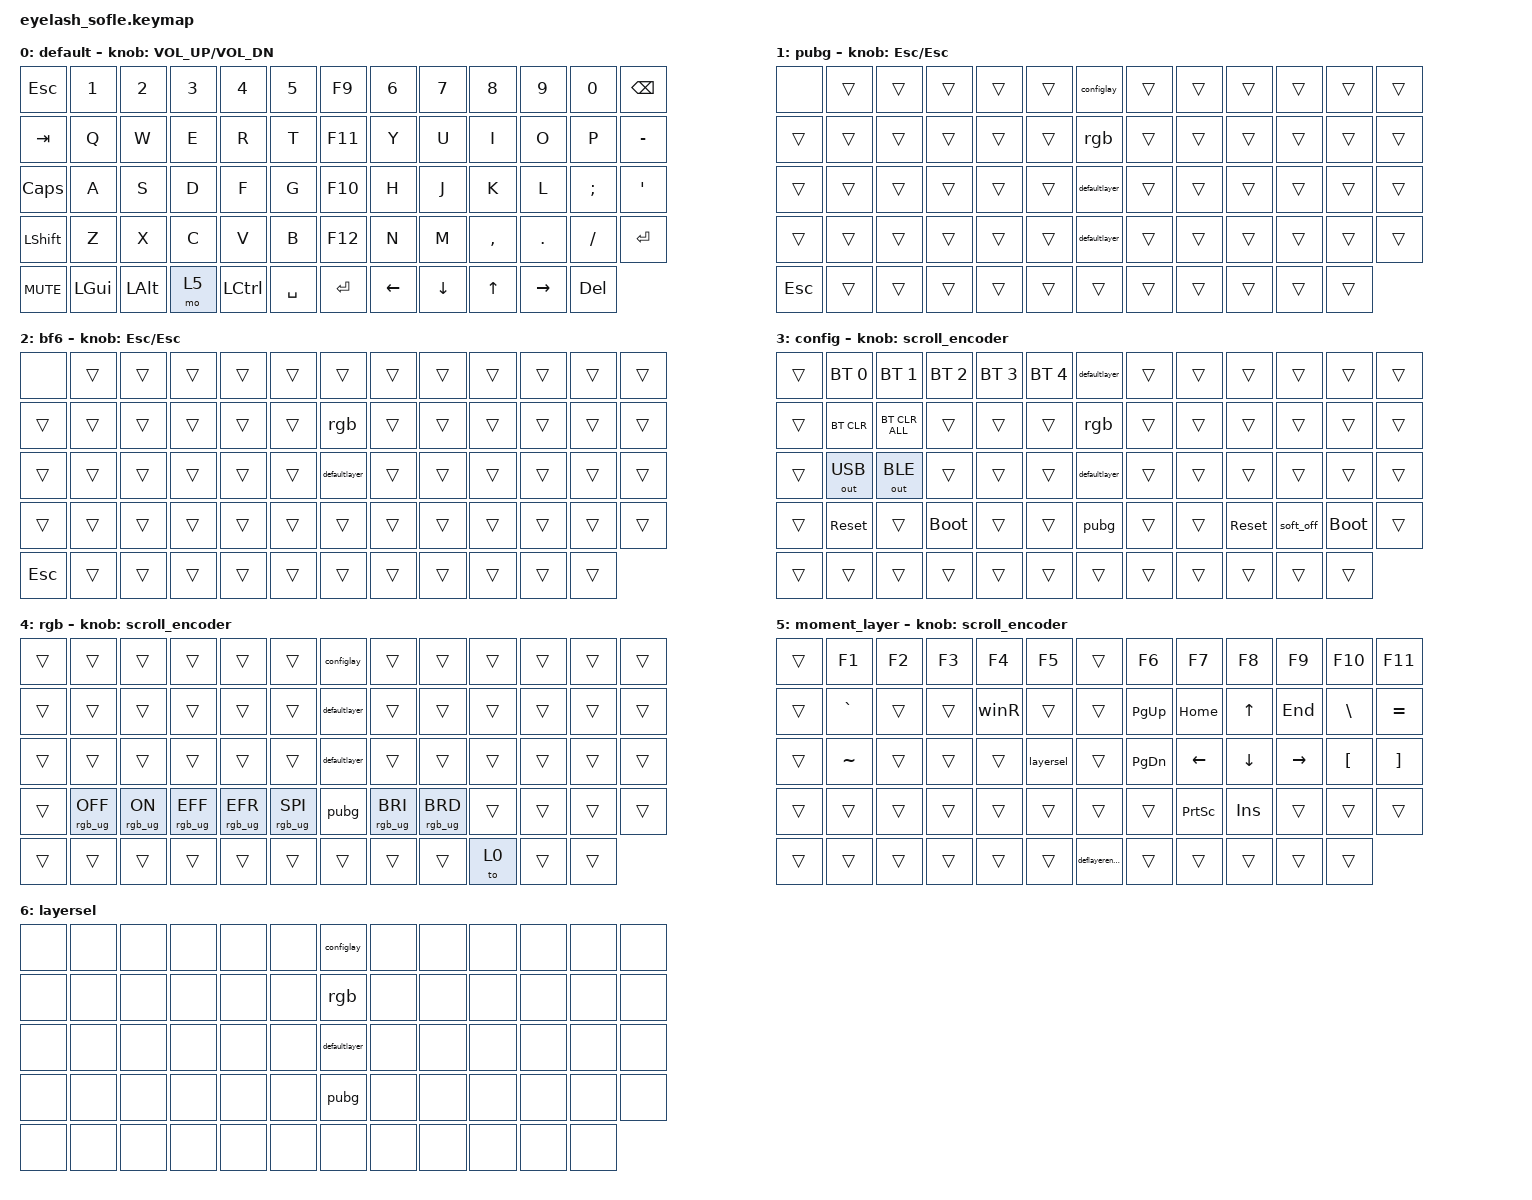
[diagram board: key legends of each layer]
#define ZMK_POINTING_DEFAULT_MOVE_VAL 1200  // 600
#define ZMK_POINTING_DEFAULT_SCRL_VAL 25   // 10

#include <input/processors.dtsi>
#include <zephyr/dt-bindings/input/input-event-codes.h>
#include <behaviors.dtsi>
#include <dt-bindings/zmk/bt.h>
#include <dt-bindings/zmk/keys.h>
#include <dt-bindings/zmk/outputs.h>
#include <dt-bindings/zmk/pointing.h>
#include <dt-bindings/zmk/rgb.h>

&mmv_input_listener { input-processors = <&zip_xy_scaler 2 1>; };

&msc_input_listener { input-processors = <&zip_scroll_scaler 2 1>; };

&msc {
    acceleration-exponent = <1>;      // 0
    time-to-max-speed-ms = <100>;       // 300
    delay-ms = <0>;                   // 0
};

&mmv {
    time-to-max-speed-ms = <500>;
    acceleration-exponent = <1>;
    trigger-period-ms = <16>;
};

&soft_off { hold-time-ms = <2000>; };

/ {
    scroll_encoder: scroll_encoder {
        compatible = "zmk,behavior-sensor-rotate";
        #sensor-binding-cells = <0>;
        bindings = <&msc SCRL_DOWN>, <&msc SCRL_UP>;

        tap-ms = <100>;
    };

    behaviors {
    };

    combos {
        compatible = "zmk,combos";

        softoff {
            bindings = <&soft_off>;
            key-positions = <14 28 40>;
        };
    };

    macros {
        momentlayer: momentlayer {
            compatible = "zmk,behavior-macro";
            #binding-cells = <0>;
            bindings =
                <&macro_press>,
                <&mo 5>,
                <&macro_tap>,
                <&rgb_ug RGB_COLOR_HSB(112,93,49)>,
                <&macro_pause_for_release>,
                <&macro_release>,
                <&mo 5>,
                <&macro_tap>,
                <&rgb_ug RGB_COLOR_HSB(216,100,52)>;

            label = "MOMENTLAYER";
        };

        pubg: pubg {
            compatible = "zmk,behavior-macro";
            #binding-cells = <0>;
            bindings = <&macro_tap>, <&to 1 &rgb_ug RGB_COLOR_HSB(283,93,49)>;

            label = "PUBG";
        };

        rgb: rgb {
            compatible = "zmk,behavior-macro";
            #binding-cells = <0>;
            bindings = <&macro_tap>, <&to 4 &rgb_ug RGB_COLOR_HSB(59,93,49)>;

            label = "RGB";
        };

        defaultlayer: defaultlayer {
            compatible = "zmk,behavior-macro";
            #binding-cells = <0>;
            bindings = <&macro_tap>, <&to 0 &rgb_ug RGB_COLOR_HSB(212,93,49)>;

            label = "DEFAULTLAYER";
        };

        layersel: layersel {
            compatible = "zmk,behavior-macro";
            #binding-cells = <0>;
            bindings = <&macro_tap>, <&to 6 &rgb_ug RGB_COLOR_HSB(360,0,100)>;

            label = "LAYERSEL";
        };

        winR: winR {
            compatible = "zmk,behavior-macro";
            #binding-cells = <0>;
            bindings =
                <&macro_press>,
                <&kp LEFT_GUI>,
                <&macro_tap>,
                <&kp R>,
                <&macro_release>,
                <&kp LEFT_GUI>;

            label = "WINR";
        };

        configlay: configlay {
            compatible = "zmk,behavior-macro";
            #binding-cells = <0>;
            bindings = <&macro_tap>, <&to 3 &rgb_ug RGB_COLOR_HSB(360,93,49)>;

            label = "CONFIGLAY";
        };

        deflayerenablergb: deflayerenablergb {
            compatible = "zmk,behavior-macro";
            #binding-cells = <0>;
            bindings =
                <&macro_tap>,
                <&rgb_ug RGB_ON &rgb_ug RGB_BRI &to 0 &rgb_ug RGB_COLOR_HSB(212,93,49)>;

            label = "DEFLAYERENABLERGB";
        };
    };

    keymap {
        compatible = "zmk,keymap";

        default {
            bindings = <
&kp ESC     &kp N1        &kp N2        &kp N3  &kp N4            &kp N5       &kp F9     &kp N6          &kp N7          &kp N8        &kp N9           &kp N0      &kp BACKSPACE
&kp TAB     &kp Q         &kp W         &kp E   &kp R             &kp T        &kp F11    &kp Y           &kp U           &kp I         &kp O            &kp P       &kp MINUS
&kp CAPS    &kp A         &kp S         &kp D   &kp F             &kp G        &kp F10    &kp H           &kp J           &kp K         &kp L            &kp SEMI    &kp APOS
&kp LSHFT   &kp Z         &kp X         &kp C   &kp V             &kp B        &kp F12    &kp N           &kp M           &kp COMMA     &kp DOT          &kp FSLH    &kp ENTER
&kp C_MUTE  &kp LEFT_GUI  &kp LEFT_ALT  &mo 5   &kp LEFT_CONTROL  &kp SPACE    &kp ENTER  &kp LEFT_ARROW  &kp DOWN_ARROW  &kp UP_ARROW  &kp RIGHT_ARROW  &kp DELETE
            >;

            sensor-bindings = <&inc_dec_kp C_VOLUME_UP C_VOL_DN>;
            display-name = "default";
        };

        pubg {
            bindings = <
&none    &trans  &trans  &trans  &trans  &trans    &configlay     &trans  &trans  &trans  &trans  &trans  &trans
&trans   &trans  &trans  &trans  &trans  &trans    &rgb           &trans  &trans  &trans  &trans  &trans  &trans
&trans   &trans  &trans  &trans  &trans  &trans    &defaultlayer  &trans  &trans  &trans  &trans  &trans  &trans
&trans   &trans  &trans  &trans  &trans  &trans    &defaultlayer  &trans  &trans  &trans  &trans  &trans  &trans
&kp ESC  &trans  &trans  &trans  &trans  &trans    &trans         &trans  &trans  &trans  &trans  &trans
            >;

            display-name = "pubg";
            sensor-bindings = <&inc_dec_kp ESCAPE ESCAPE>;
        };

        bf6 {
            bindings = <
&none       &trans  &trans  &trans  &trans  &trans    &trans         &trans  &trans  &trans  &trans  &trans  &trans
&trans      &trans  &trans  &trans  &trans  &trans    &rgb           &trans  &trans  &trans  &trans  &trans  &trans
&trans      &trans  &trans  &trans  &trans  &trans    &defaultlayer  &trans  &trans  &trans  &trans  &trans  &trans
&trans      &trans  &trans  &trans  &trans  &trans    &trans         &trans  &trans  &trans  &trans  &trans  &trans
&kp ESCAPE  &trans  &trans  &trans  &trans  &trans    &trans         &trans  &trans  &trans  &trans  &trans
            >;

            display-name = "bf6";
            sensor-bindings = <&inc_dec_kp ESCAPE ESCAPE>;
        };

        config {
            bindings = <
&trans  &bt BT_SEL 0  &bt BT_SEL 1    &bt BT_SEL 2  &bt BT_SEL 3  &bt BT_SEL 4    &defaultlayer  &trans  &trans  &trans      &trans     &trans       &trans
&trans  &bt BT_CLR    &bt BT_CLR_ALL  &trans        &trans        &trans          &rgb           &trans  &trans  &trans      &trans     &trans       &trans
&trans  &out OUT_USB  &out OUT_BLE    &trans        &trans        &trans          &defaultlayer  &trans  &trans  &trans      &trans     &trans       &trans
&trans  &sys_reset    &trans          &bootloader   &trans        &trans          &pubg          &trans  &trans  &sys_reset  &soft_off  &bootloader  &trans
&trans  &trans        &trans          &trans        &trans        &trans          &trans         &trans  &trans  &trans      &trans     &trans
            >;

            display-name = "config";
            sensor-bindings = <&scroll_encoder>;
        };

        rgb {
            bindings = <
&trans  &trans           &trans          &trans           &trans           &trans             &configlay     &trans           &trans           &trans  &trans  &trans  &trans
&trans  &trans           &trans          &trans           &trans           &trans             &defaultlayer  &trans           &trans           &trans  &trans  &trans  &trans
&trans  &trans           &trans          &trans           &trans           &trans             &defaultlayer  &trans           &trans           &trans  &trans  &trans  &trans
&trans  &rgb_ug RGB_OFF  &rgb_ug RGB_ON  &rgb_ug RGB_EFF  &rgb_ug RGB_EFR  &rgb_ug RGB_SPI    &pubg          &rgb_ug RGB_BRI  &rgb_ug RGB_BRD  &trans  &trans  &trans  &trans
&trans  &trans           &trans          &trans           &trans           &trans             &trans         &trans           &trans           &to 0   &trans  &trans
            >;

            display-name = "rgb";
            sensor-bindings = <&scroll_encoder>;
        };

        moment_layer {
            bindings = <
&trans  &kp F1     &kp F2  &kp F3  &kp F4  &kp F5       &trans              &kp F6         &kp F7           &kp F8          &kp F9           &kp F10           &kp F11
&trans  &kp GRAVE  &trans  &trans  &winR   &trans       &trans              &kp PAGE_UP    &kp HOME         &kp UP_ARROW    &kp END          &kp BACKSLASH     &kp EQUAL
&trans  &kp TILDE  &trans  &trans  &trans  &layersel    &trans              &kp PAGE_DOWN  &kp LEFT_ARROW   &kp DOWN_ARROW  &kp RIGHT_ARROW  &kp LEFT_BRACKET  &kp RIGHT_BRACKET
&trans  &trans     &trans  &trans  &trans  &trans       &trans              &trans         &kp PRINTSCREEN  &kp INSERT      &trans           &trans            &trans
&trans  &trans     &trans  &trans  &trans  &trans       &deflayerenablergb  &trans         &trans           &trans          &trans           &trans
            >;

            sensor-bindings = <&scroll_encoder>;
        };

        layersel {
            bindings = <
&none  &none  &none  &none  &none  &none    &configlay     &none  &none  &none  &none  &none  &none
&none  &none  &none  &none  &none  &none    &rgb           &none  &none  &none  &none  &none  &none
&none  &none  &none  &none  &none  &none    &defaultlayer  &none  &none  &none  &none  &none  &none
&none  &none  &none  &none  &none  &none    &pubg          &none  &none  &none  &none  &none  &none
&none  &none  &none  &none  &none  &none    &none          &none  &none  &none  &none  &none
            >;
        };
    };
};
